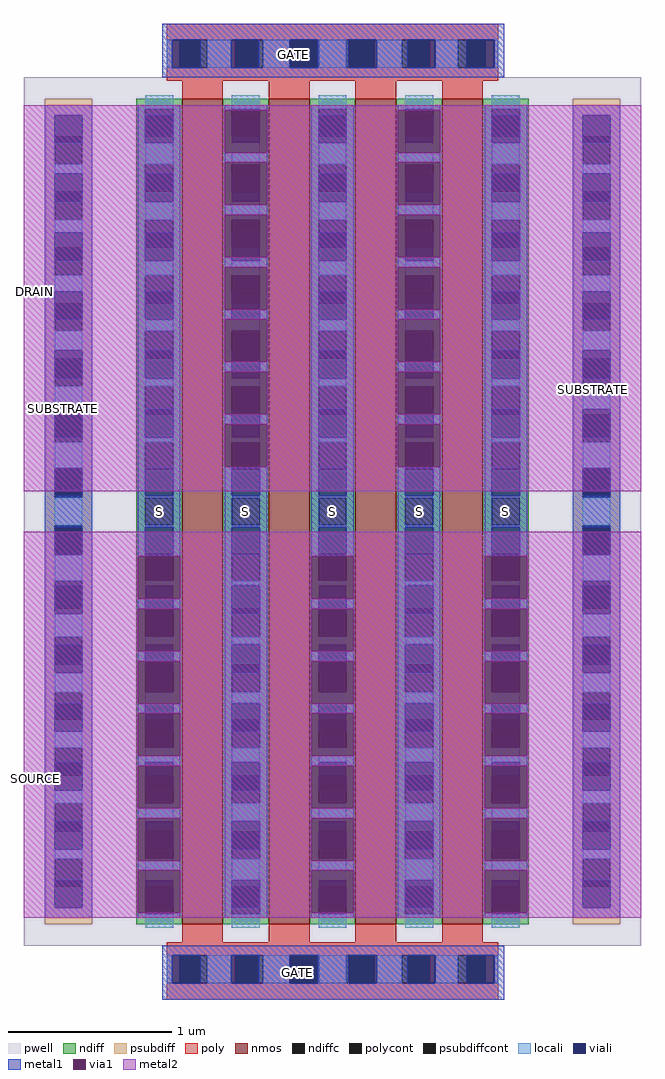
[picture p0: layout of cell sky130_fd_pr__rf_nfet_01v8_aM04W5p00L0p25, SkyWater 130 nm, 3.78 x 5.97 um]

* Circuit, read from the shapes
.subckt sky130_fd_pr__rf_nfet_01v8_aM04W5p00L0p25 DRAIN GATE SOURCE SUBSTRATE
XM1 DRAIN GATE SOURCE SUBSTRATE sky130_fd_pr__nfet_01v8 w=5.05 l=0.25 m=4
.ends

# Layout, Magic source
magic
tech sky130A
magscale 1 2
<< pwell >>
rect 0 66 756 1128
<< nmos >>
rect 194 92 244 1102
rect 300 92 350 1102
rect 406 92 456 1102
rect 512 92 562 1102
<< ndiff >>
rect 138 1090 194 1102
rect 138 1056 149 1090
rect 183 1056 194 1090
rect 138 1022 194 1056
rect 138 988 149 1022
rect 183 988 194 1022
rect 138 954 194 988
rect 138 920 149 954
rect 183 920 194 954
rect 138 886 194 920
rect 138 852 149 886
rect 183 852 194 886
rect 138 818 194 852
rect 138 784 149 818
rect 183 784 194 818
rect 138 750 194 784
rect 138 716 149 750
rect 183 716 194 750
rect 138 682 194 716
rect 138 648 149 682
rect 183 648 194 682
rect 138 614 194 648
rect 138 580 149 614
rect 183 580 194 614
rect 138 546 194 580
rect 138 512 149 546
rect 183 512 194 546
rect 138 478 194 512
rect 138 444 149 478
rect 183 444 194 478
rect 138 410 194 444
rect 138 376 149 410
rect 183 376 194 410
rect 138 342 194 376
rect 138 308 149 342
rect 183 308 194 342
rect 138 274 194 308
rect 138 240 149 274
rect 183 240 194 274
rect 138 206 194 240
rect 138 172 149 206
rect 183 172 194 206
rect 138 138 194 172
rect 138 104 149 138
rect 183 104 194 138
rect 138 92 194 104
rect 244 1090 300 1102
rect 244 1056 255 1090
rect 289 1056 300 1090
rect 244 1022 300 1056
rect 244 988 255 1022
rect 289 988 300 1022
rect 244 954 300 988
rect 244 920 255 954
rect 289 920 300 954
rect 244 886 300 920
rect 244 852 255 886
rect 289 852 300 886
rect 244 818 300 852
rect 244 784 255 818
rect 289 784 300 818
rect 244 750 300 784
rect 244 716 255 750
rect 289 716 300 750
rect 244 682 300 716
rect 244 648 255 682
rect 289 648 300 682
rect 244 614 300 648
rect 244 580 255 614
rect 289 580 300 614
rect 244 546 300 580
rect 244 512 255 546
rect 289 512 300 546
rect 244 478 300 512
rect 244 444 255 478
rect 289 444 300 478
rect 244 410 300 444
rect 244 376 255 410
rect 289 376 300 410
rect 244 342 300 376
rect 244 308 255 342
rect 289 308 300 342
rect 244 274 300 308
rect 244 240 255 274
rect 289 240 300 274
rect 244 206 300 240
rect 244 172 255 206
rect 289 172 300 206
rect 244 138 300 172
rect 244 104 255 138
rect 289 104 300 138
rect 244 92 300 104
rect 350 1090 406 1102
rect 350 1056 361 1090
rect 395 1056 406 1090
rect 350 1022 406 1056
rect 350 988 361 1022
rect 395 988 406 1022
rect 350 954 406 988
rect 350 920 361 954
rect 395 920 406 954
rect 350 886 406 920
rect 350 852 361 886
rect 395 852 406 886
rect 350 818 406 852
rect 350 784 361 818
rect 395 784 406 818
rect 350 750 406 784
rect 350 716 361 750
rect 395 716 406 750
rect 350 682 406 716
rect 350 648 361 682
rect 395 648 406 682
rect 350 614 406 648
rect 350 580 361 614
rect 395 580 406 614
rect 350 546 406 580
rect 350 512 361 546
rect 395 512 406 546
rect 350 478 406 512
rect 350 444 361 478
rect 395 444 406 478
rect 350 410 406 444
rect 350 376 361 410
rect 395 376 406 410
rect 350 342 406 376
rect 350 308 361 342
rect 395 308 406 342
rect 350 274 406 308
rect 350 240 361 274
rect 395 240 406 274
rect 350 206 406 240
rect 350 172 361 206
rect 395 172 406 206
rect 350 138 406 172
rect 350 104 361 138
rect 395 104 406 138
rect 350 92 406 104
rect 456 1090 512 1102
rect 456 1056 467 1090
rect 501 1056 512 1090
rect 456 1022 512 1056
rect 456 988 467 1022
rect 501 988 512 1022
rect 456 954 512 988
rect 456 920 467 954
rect 501 920 512 954
rect 456 886 512 920
rect 456 852 467 886
rect 501 852 512 886
rect 456 818 512 852
rect 456 784 467 818
rect 501 784 512 818
rect 456 750 512 784
rect 456 716 467 750
rect 501 716 512 750
rect 456 682 512 716
rect 456 648 467 682
rect 501 648 512 682
rect 456 614 512 648
rect 456 580 467 614
rect 501 580 512 614
rect 456 546 512 580
rect 456 512 467 546
rect 501 512 512 546
rect 456 478 512 512
rect 456 444 467 478
rect 501 444 512 478
rect 456 410 512 444
rect 456 376 467 410
rect 501 376 512 410
rect 456 342 512 376
rect 456 308 467 342
rect 501 308 512 342
rect 456 274 512 308
rect 456 240 467 274
rect 501 240 512 274
rect 456 206 512 240
rect 456 172 467 206
rect 501 172 512 206
rect 456 138 512 172
rect 456 104 467 138
rect 501 104 512 138
rect 456 92 512 104
rect 562 1090 618 1102
rect 562 1056 573 1090
rect 607 1056 618 1090
rect 562 1022 618 1056
rect 562 988 573 1022
rect 607 988 618 1022
rect 562 954 618 988
rect 562 920 573 954
rect 607 920 618 954
rect 562 886 618 920
rect 562 852 573 886
rect 607 852 618 886
rect 562 818 618 852
rect 562 784 573 818
rect 607 784 618 818
rect 562 750 618 784
rect 562 716 573 750
rect 607 716 618 750
rect 562 682 618 716
rect 562 648 573 682
rect 607 648 618 682
rect 562 614 618 648
rect 562 580 573 614
rect 607 580 618 614
rect 562 546 618 580
rect 562 512 573 546
rect 607 512 618 546
rect 562 478 618 512
rect 562 444 573 478
rect 607 444 618 478
rect 562 410 618 444
rect 562 376 573 410
rect 607 376 618 410
rect 562 342 618 376
rect 562 308 573 342
rect 607 308 618 342
rect 562 274 618 308
rect 562 240 573 274
rect 607 240 618 274
rect 562 206 618 240
rect 562 172 573 206
rect 607 172 618 206
rect 562 138 618 172
rect 562 104 573 138
rect 607 104 618 138
rect 562 92 618 104
<< ndiffc >>
rect 149 1056 183 1090
rect 149 988 183 1022
rect 149 920 183 954
rect 149 852 183 886
rect 149 784 183 818
rect 149 716 183 750
rect 149 648 183 682
rect 149 580 183 614
rect 149 512 183 546
rect 149 444 183 478
rect 149 376 183 410
rect 149 308 183 342
rect 149 240 183 274
rect 149 172 183 206
rect 149 104 183 138
rect 255 1056 289 1090
rect 255 988 289 1022
rect 255 920 289 954
rect 255 852 289 886
rect 255 784 289 818
rect 255 716 289 750
rect 255 648 289 682
rect 255 580 289 614
rect 255 512 289 546
rect 255 444 289 478
rect 255 376 289 410
rect 255 308 289 342
rect 255 240 289 274
rect 255 172 289 206
rect 255 104 289 138
rect 361 1056 395 1090
rect 361 988 395 1022
rect 361 920 395 954
rect 361 852 395 886
rect 361 784 395 818
rect 361 716 395 750
rect 361 648 395 682
rect 361 580 395 614
rect 361 512 395 546
rect 361 444 395 478
rect 361 376 395 410
rect 361 308 395 342
rect 361 240 395 274
rect 361 172 395 206
rect 361 104 395 138
rect 467 1056 501 1090
rect 467 988 501 1022
rect 467 920 501 954
rect 467 852 501 886
rect 467 784 501 818
rect 467 716 501 750
rect 467 648 501 682
rect 467 580 501 614
rect 467 512 501 546
rect 467 444 501 478
rect 467 376 501 410
rect 467 308 501 342
rect 467 240 501 274
rect 467 172 501 206
rect 467 104 501 138
rect 573 1056 607 1090
rect 573 988 607 1022
rect 573 920 607 954
rect 573 852 607 886
rect 573 784 607 818
rect 573 716 607 750
rect 573 648 607 682
rect 573 580 607 614
rect 573 512 607 546
rect 573 444 607 478
rect 573 376 607 410
rect 573 308 607 342
rect 573 240 607 274
rect 573 172 607 206
rect 573 104 607 138
<< psubdiff >>
rect 26 1056 84 1102
rect 26 1022 38 1056
rect 72 1022 84 1056
rect 26 988 84 1022
rect 26 954 38 988
rect 72 954 84 988
rect 26 920 84 954
rect 26 886 38 920
rect 72 886 84 920
rect 26 852 84 886
rect 26 818 38 852
rect 72 818 84 852
rect 26 784 84 818
rect 26 750 38 784
rect 72 750 84 784
rect 26 716 84 750
rect 26 682 38 716
rect 72 682 84 716
rect 26 648 84 682
rect 26 614 38 648
rect 72 614 84 648
rect 26 580 84 614
rect 26 546 38 580
rect 72 546 84 580
rect 26 512 84 546
rect 26 478 38 512
rect 72 478 84 512
rect 26 444 84 478
rect 26 410 38 444
rect 72 410 84 444
rect 26 376 84 410
rect 26 342 38 376
rect 72 342 84 376
rect 26 308 84 342
rect 26 274 38 308
rect 72 274 84 308
rect 26 240 84 274
rect 26 206 38 240
rect 72 206 84 240
rect 26 172 84 206
rect 26 138 38 172
rect 72 138 84 172
rect 26 92 84 138
rect 672 1056 730 1102
rect 672 1022 684 1056
rect 718 1022 730 1056
rect 672 988 730 1022
rect 672 954 684 988
rect 718 954 730 988
rect 672 920 730 954
rect 672 886 684 920
rect 718 886 730 920
rect 672 852 730 886
rect 672 818 684 852
rect 718 818 730 852
rect 672 784 730 818
rect 672 750 684 784
rect 718 750 730 784
rect 672 716 730 750
rect 672 682 684 716
rect 718 682 730 716
rect 672 648 730 682
rect 672 614 684 648
rect 718 614 730 648
rect 672 580 730 614
rect 672 546 684 580
rect 718 546 730 580
rect 672 512 730 546
rect 672 478 684 512
rect 718 478 730 512
rect 672 444 730 478
rect 672 410 684 444
rect 718 410 730 444
rect 672 376 730 410
rect 672 342 684 376
rect 718 342 730 376
rect 672 308 730 342
rect 672 274 684 308
rect 718 274 730 308
rect 672 240 730 274
rect 672 206 684 240
rect 718 206 730 240
rect 672 172 730 206
rect 672 138 684 172
rect 718 138 730 172
rect 672 92 730 138
<< psubdiffcont >>
rect 38 1022 72 1056
rect 38 954 72 988
rect 38 886 72 920
rect 38 818 72 852
rect 38 750 72 784
rect 38 682 72 716
rect 38 614 72 648
rect 38 546 72 580
rect 38 478 72 512
rect 38 410 72 444
rect 38 342 72 376
rect 38 274 72 308
rect 38 206 72 240
rect 38 138 72 172
rect 684 1022 718 1056
rect 684 954 718 988
rect 684 886 718 920
rect 684 818 718 852
rect 684 750 718 784
rect 684 682 718 716
rect 684 614 718 648
rect 684 546 718 580
rect 684 478 718 512
rect 684 410 718 444
rect 684 342 718 376
rect 684 274 718 308
rect 684 206 718 240
rect 684 138 718 172
<< poly >>
rect 175 1174 581 1194
rect 175 1140 191 1174
rect 225 1140 259 1174
rect 293 1140 327 1174
rect 361 1140 395 1174
rect 429 1140 463 1174
rect 497 1140 531 1174
rect 565 1140 581 1174
rect 175 1124 581 1140
rect 194 1102 244 1124
rect 300 1102 350 1124
rect 406 1102 456 1124
rect 512 1102 562 1124
rect 194 70 244 92
rect 300 70 350 92
rect 406 70 456 92
rect 512 70 562 92
rect 175 54 581 70
rect 175 20 191 54
rect 225 20 259 54
rect 293 20 327 54
rect 361 20 395 54
rect 429 20 463 54
rect 497 20 531 54
rect 565 20 581 54
rect 175 0 581 20
<< polycont >>
rect 191 1140 225 1174
rect 259 1140 293 1174
rect 327 1140 361 1174
rect 395 1140 429 1174
rect 463 1140 497 1174
rect 531 1140 565 1174
rect 191 20 225 54
rect 259 20 293 54
rect 327 20 361 54
rect 395 20 429 54
rect 463 20 497 54
rect 531 20 565 54
<< locali >>
rect 175 1140 182 1174
rect 225 1140 254 1174
rect 293 1140 326 1174
rect 361 1140 395 1174
rect 432 1140 463 1174
rect 504 1140 531 1174
rect 576 1140 581 1174
rect 149 1090 183 1106
rect 38 1010 72 1022
rect 38 938 72 954
rect 38 866 72 886
rect 38 794 72 818
rect 38 722 72 750
rect 38 650 72 682
rect 38 580 72 614
rect 38 512 72 544
rect 38 444 72 472
rect 38 376 72 400
rect 38 308 72 328
rect 38 240 72 256
rect 38 172 72 184
rect 149 1022 183 1048
rect 149 954 183 976
rect 149 886 183 904
rect 149 818 183 832
rect 149 750 183 760
rect 149 682 183 688
rect 149 614 183 616
rect 149 578 183 580
rect 149 506 183 512
rect 149 434 183 444
rect 149 362 183 376
rect 149 290 183 308
rect 149 218 183 240
rect 149 146 183 172
rect 149 88 183 104
rect 255 1090 289 1106
rect 255 1022 289 1048
rect 255 954 289 976
rect 255 886 289 904
rect 255 818 289 832
rect 255 750 289 760
rect 255 682 289 688
rect 255 614 289 616
rect 255 578 289 580
rect 255 506 289 512
rect 255 434 289 444
rect 255 362 289 376
rect 255 290 289 308
rect 255 218 289 240
rect 255 146 289 172
rect 255 88 289 104
rect 361 1090 395 1106
rect 361 1022 395 1048
rect 361 954 395 976
rect 361 886 395 904
rect 361 818 395 832
rect 361 750 395 760
rect 361 682 395 688
rect 361 614 395 616
rect 361 578 395 580
rect 361 506 395 512
rect 361 434 395 444
rect 361 362 395 376
rect 361 290 395 308
rect 361 218 395 240
rect 361 146 395 172
rect 361 88 395 104
rect 467 1090 501 1106
rect 467 1022 501 1048
rect 467 954 501 976
rect 467 886 501 904
rect 467 818 501 832
rect 467 750 501 760
rect 467 682 501 688
rect 467 614 501 616
rect 467 578 501 580
rect 467 506 501 512
rect 467 434 501 444
rect 467 362 501 376
rect 467 290 501 308
rect 467 218 501 240
rect 467 146 501 172
rect 467 88 501 104
rect 573 1090 607 1106
rect 573 1022 607 1048
rect 573 954 607 976
rect 573 886 607 904
rect 573 818 607 832
rect 573 750 607 760
rect 573 682 607 688
rect 573 614 607 616
rect 573 578 607 580
rect 573 506 607 512
rect 573 434 607 444
rect 573 362 607 376
rect 573 290 607 308
rect 573 218 607 240
rect 573 146 607 172
rect 684 1010 718 1022
rect 684 938 718 954
rect 684 866 718 886
rect 684 794 718 818
rect 684 722 718 750
rect 684 650 718 682
rect 684 580 718 614
rect 684 512 718 544
rect 684 444 718 472
rect 684 376 718 400
rect 684 308 718 328
rect 684 240 718 256
rect 684 172 718 184
rect 573 88 607 104
rect 175 20 182 54
rect 225 20 254 54
rect 293 20 326 54
rect 361 20 395 54
rect 432 20 463 54
rect 504 20 531 54
rect 576 20 581 54
<< viali >>
rect 182 1140 191 1174
rect 191 1140 216 1174
rect 254 1140 259 1174
rect 259 1140 288 1174
rect 326 1140 327 1174
rect 327 1140 360 1174
rect 398 1140 429 1174
rect 429 1140 432 1174
rect 470 1140 497 1174
rect 497 1140 504 1174
rect 542 1140 565 1174
rect 565 1140 576 1174
rect 38 1056 72 1082
rect 38 1048 72 1056
rect 38 988 72 1010
rect 38 976 72 988
rect 38 920 72 938
rect 38 904 72 920
rect 38 852 72 866
rect 38 832 72 852
rect 38 784 72 794
rect 38 760 72 784
rect 38 716 72 722
rect 38 688 72 716
rect 38 648 72 650
rect 38 616 72 648
rect 38 546 72 578
rect 38 544 72 546
rect 38 478 72 506
rect 38 472 72 478
rect 38 410 72 434
rect 38 400 72 410
rect 38 342 72 362
rect 38 328 72 342
rect 38 274 72 290
rect 38 256 72 274
rect 38 206 72 218
rect 38 184 72 206
rect 38 138 72 146
rect 38 112 72 138
rect 149 1056 183 1082
rect 149 1048 183 1056
rect 149 988 183 1010
rect 149 976 183 988
rect 149 920 183 938
rect 149 904 183 920
rect 149 852 183 866
rect 149 832 183 852
rect 149 784 183 794
rect 149 760 183 784
rect 149 716 183 722
rect 149 688 183 716
rect 149 648 183 650
rect 149 616 183 648
rect 149 546 183 578
rect 149 544 183 546
rect 149 478 183 506
rect 149 472 183 478
rect 149 410 183 434
rect 149 400 183 410
rect 149 342 183 362
rect 149 328 183 342
rect 149 274 183 290
rect 149 256 183 274
rect 149 206 183 218
rect 149 184 183 206
rect 149 138 183 146
rect 149 112 183 138
rect 255 1056 289 1082
rect 255 1048 289 1056
rect 255 988 289 1010
rect 255 976 289 988
rect 255 920 289 938
rect 255 904 289 920
rect 255 852 289 866
rect 255 832 289 852
rect 255 784 289 794
rect 255 760 289 784
rect 255 716 289 722
rect 255 688 289 716
rect 255 648 289 650
rect 255 616 289 648
rect 255 546 289 578
rect 255 544 289 546
rect 255 478 289 506
rect 255 472 289 478
rect 255 410 289 434
rect 255 400 289 410
rect 255 342 289 362
rect 255 328 289 342
rect 255 274 289 290
rect 255 256 289 274
rect 255 206 289 218
rect 255 184 289 206
rect 255 138 289 146
rect 255 112 289 138
rect 361 1056 395 1082
rect 361 1048 395 1056
rect 361 988 395 1010
rect 361 976 395 988
rect 361 920 395 938
rect 361 904 395 920
rect 361 852 395 866
rect 361 832 395 852
rect 361 784 395 794
rect 361 760 395 784
rect 361 716 395 722
rect 361 688 395 716
rect 361 648 395 650
rect 361 616 395 648
rect 361 546 395 578
rect 361 544 395 546
rect 361 478 395 506
rect 361 472 395 478
rect 361 410 395 434
rect 361 400 395 410
rect 361 342 395 362
rect 361 328 395 342
rect 361 274 395 290
rect 361 256 395 274
rect 361 206 395 218
rect 361 184 395 206
rect 361 138 395 146
rect 361 112 395 138
rect 467 1056 501 1082
rect 467 1048 501 1056
rect 467 988 501 1010
rect 467 976 501 988
rect 467 920 501 938
rect 467 904 501 920
rect 467 852 501 866
rect 467 832 501 852
rect 467 784 501 794
rect 467 760 501 784
rect 467 716 501 722
rect 467 688 501 716
rect 467 648 501 650
rect 467 616 501 648
rect 467 546 501 578
rect 467 544 501 546
rect 467 478 501 506
rect 467 472 501 478
rect 467 410 501 434
rect 467 400 501 410
rect 467 342 501 362
rect 467 328 501 342
rect 467 274 501 290
rect 467 256 501 274
rect 467 206 501 218
rect 467 184 501 206
rect 467 138 501 146
rect 467 112 501 138
rect 573 1056 607 1082
rect 573 1048 607 1056
rect 573 988 607 1010
rect 573 976 607 988
rect 573 920 607 938
rect 573 904 607 920
rect 573 852 607 866
rect 573 832 607 852
rect 573 784 607 794
rect 573 760 607 784
rect 573 716 607 722
rect 573 688 607 716
rect 573 648 607 650
rect 573 616 607 648
rect 573 546 607 578
rect 573 544 607 546
rect 573 478 607 506
rect 573 472 607 478
rect 573 410 607 434
rect 573 400 607 410
rect 573 342 607 362
rect 573 328 607 342
rect 573 274 607 290
rect 573 256 607 274
rect 573 206 607 218
rect 573 184 607 206
rect 573 138 607 146
rect 573 112 607 138
rect 684 1056 718 1082
rect 684 1048 718 1056
rect 684 988 718 1010
rect 684 976 718 988
rect 684 920 718 938
rect 684 904 718 920
rect 684 852 718 866
rect 684 832 718 852
rect 684 784 718 794
rect 684 760 718 784
rect 684 716 718 722
rect 684 688 718 716
rect 684 648 718 650
rect 684 616 718 648
rect 684 546 718 578
rect 684 544 718 546
rect 684 478 718 506
rect 684 472 718 478
rect 684 410 718 434
rect 684 400 718 410
rect 684 342 718 362
rect 684 328 718 342
rect 684 274 718 290
rect 684 256 718 274
rect 684 206 718 218
rect 684 184 718 206
rect 684 138 718 146
rect 684 112 718 138
rect 182 20 191 54
rect 191 20 216 54
rect 254 20 259 54
rect 259 20 288 54
rect 326 20 327 54
rect 327 20 360 54
rect 398 20 429 54
rect 429 20 432 54
rect 470 20 497 54
rect 497 20 504 54
rect 542 20 565 54
rect 565 20 576 54
<< metal1 >>
rect 170 1174 588 1194
rect 170 1140 182 1174
rect 216 1140 254 1174
rect 288 1140 326 1174
rect 360 1140 398 1174
rect 432 1140 470 1174
rect 504 1140 542 1174
rect 576 1140 588 1174
rect 170 1128 588 1140
rect 26 1082 84 1094
rect 26 1048 38 1082
rect 72 1048 84 1082
rect 26 1010 84 1048
rect 26 976 38 1010
rect 72 976 84 1010
rect 26 938 84 976
rect 26 904 38 938
rect 72 904 84 938
rect 26 866 84 904
rect 26 832 38 866
rect 72 832 84 866
rect 26 794 84 832
rect 26 760 38 794
rect 72 760 84 794
rect 26 722 84 760
rect 26 688 38 722
rect 72 688 84 722
rect 26 650 84 688
rect 26 616 38 650
rect 72 616 84 650
rect 26 578 84 616
rect 26 544 38 578
rect 72 544 84 578
rect 26 506 84 544
rect 26 472 38 506
rect 72 472 84 506
rect 26 434 84 472
rect 26 400 38 434
rect 72 400 84 434
rect 26 362 84 400
rect 26 328 38 362
rect 72 328 84 362
rect 26 290 84 328
rect 26 256 38 290
rect 72 256 84 290
rect 26 218 84 256
rect 26 184 38 218
rect 72 184 84 218
rect 26 146 84 184
rect 26 112 38 146
rect 72 112 84 146
rect 26 100 84 112
rect 140 1082 192 1094
rect 140 1048 149 1082
rect 183 1048 192 1082
rect 140 1010 192 1048
rect 140 976 149 1010
rect 183 976 192 1010
rect 140 938 192 976
rect 140 904 149 938
rect 183 904 192 938
rect 140 866 192 904
rect 140 832 149 866
rect 183 832 192 866
rect 140 794 192 832
rect 140 760 149 794
rect 183 760 192 794
rect 140 722 192 760
rect 140 688 149 722
rect 183 688 192 722
rect 140 650 192 688
rect 140 616 149 650
rect 183 616 192 650
rect 140 578 192 616
rect 140 544 149 578
rect 183 544 192 578
rect 140 542 192 544
rect 140 478 149 490
rect 183 478 192 490
rect 140 414 149 426
rect 183 414 192 426
rect 140 350 149 362
rect 183 350 192 362
rect 140 290 192 298
rect 140 286 149 290
rect 183 286 192 290
rect 140 222 192 234
rect 140 158 192 170
rect 140 100 192 106
rect 246 1088 298 1094
rect 246 1024 298 1036
rect 246 960 298 972
rect 246 904 255 908
rect 289 904 298 908
rect 246 896 298 904
rect 246 832 255 844
rect 289 832 298 844
rect 246 768 255 780
rect 289 768 298 780
rect 246 704 255 716
rect 289 704 298 716
rect 246 650 298 652
rect 246 616 255 650
rect 289 616 298 650
rect 246 578 298 616
rect 246 544 255 578
rect 289 544 298 578
rect 246 506 298 544
rect 246 472 255 506
rect 289 472 298 506
rect 246 434 298 472
rect 246 400 255 434
rect 289 400 298 434
rect 246 362 298 400
rect 246 328 255 362
rect 289 328 298 362
rect 246 290 298 328
rect 246 256 255 290
rect 289 256 298 290
rect 246 218 298 256
rect 246 184 255 218
rect 289 184 298 218
rect 246 146 298 184
rect 246 112 255 146
rect 289 112 298 146
rect 246 100 298 112
rect 352 1082 404 1094
rect 352 1048 361 1082
rect 395 1048 404 1082
rect 352 1010 404 1048
rect 352 976 361 1010
rect 395 976 404 1010
rect 352 938 404 976
rect 352 904 361 938
rect 395 904 404 938
rect 352 866 404 904
rect 352 832 361 866
rect 395 832 404 866
rect 352 794 404 832
rect 352 760 361 794
rect 395 760 404 794
rect 352 722 404 760
rect 352 688 361 722
rect 395 688 404 722
rect 352 650 404 688
rect 352 616 361 650
rect 395 616 404 650
rect 352 578 404 616
rect 352 544 361 578
rect 395 544 404 578
rect 352 542 404 544
rect 352 478 361 490
rect 395 478 404 490
rect 352 414 361 426
rect 395 414 404 426
rect 352 350 361 362
rect 395 350 404 362
rect 352 290 404 298
rect 352 286 361 290
rect 395 286 404 290
rect 352 222 404 234
rect 352 158 404 170
rect 352 100 404 106
rect 458 1088 510 1094
rect 458 1024 510 1036
rect 458 960 510 972
rect 458 904 467 908
rect 501 904 510 908
rect 458 896 510 904
rect 458 832 467 844
rect 501 832 510 844
rect 458 768 467 780
rect 501 768 510 780
rect 458 704 467 716
rect 501 704 510 716
rect 458 650 510 652
rect 458 616 467 650
rect 501 616 510 650
rect 458 578 510 616
rect 458 544 467 578
rect 501 544 510 578
rect 458 506 510 544
rect 458 472 467 506
rect 501 472 510 506
rect 458 434 510 472
rect 458 400 467 434
rect 501 400 510 434
rect 458 362 510 400
rect 458 328 467 362
rect 501 328 510 362
rect 458 290 510 328
rect 458 256 467 290
rect 501 256 510 290
rect 458 218 510 256
rect 458 184 467 218
rect 501 184 510 218
rect 458 146 510 184
rect 458 112 467 146
rect 501 112 510 146
rect 458 100 510 112
rect 564 1082 616 1094
rect 564 1048 573 1082
rect 607 1048 616 1082
rect 564 1010 616 1048
rect 564 976 573 1010
rect 607 976 616 1010
rect 564 938 616 976
rect 564 904 573 938
rect 607 904 616 938
rect 564 866 616 904
rect 564 832 573 866
rect 607 832 616 866
rect 564 794 616 832
rect 564 760 573 794
rect 607 760 616 794
rect 564 722 616 760
rect 564 688 573 722
rect 607 688 616 722
rect 564 650 616 688
rect 564 616 573 650
rect 607 616 616 650
rect 564 578 616 616
rect 564 544 573 578
rect 607 544 616 578
rect 564 542 616 544
rect 564 478 573 490
rect 607 478 616 490
rect 564 414 573 426
rect 607 414 616 426
rect 564 350 573 362
rect 607 350 616 362
rect 564 290 616 298
rect 564 286 573 290
rect 607 286 616 290
rect 564 222 616 234
rect 564 158 616 170
rect 564 100 616 106
rect 672 1082 730 1094
rect 672 1048 684 1082
rect 718 1048 730 1082
rect 672 1010 730 1048
rect 672 976 684 1010
rect 718 976 730 1010
rect 672 938 730 976
rect 672 904 684 938
rect 718 904 730 938
rect 672 866 730 904
rect 672 832 684 866
rect 718 832 730 866
rect 672 794 730 832
rect 672 760 684 794
rect 718 760 730 794
rect 672 722 730 760
rect 672 688 684 722
rect 718 688 730 722
rect 672 650 730 688
rect 672 616 684 650
rect 718 616 730 650
rect 672 578 730 616
rect 672 544 684 578
rect 718 544 730 578
rect 672 506 730 544
rect 672 472 684 506
rect 718 472 730 506
rect 672 434 730 472
rect 672 400 684 434
rect 718 400 730 434
rect 672 362 730 400
rect 672 328 684 362
rect 718 328 730 362
rect 672 290 730 328
rect 672 256 684 290
rect 718 256 730 290
rect 672 218 730 256
rect 672 184 684 218
rect 718 184 730 218
rect 672 146 730 184
rect 672 112 684 146
rect 718 112 730 146
rect 672 100 730 112
rect 170 54 588 66
rect 170 20 182 54
rect 216 20 254 54
rect 288 20 326 54
rect 360 20 398 54
rect 432 20 470 54
rect 504 20 542 54
rect 576 20 588 54
rect 170 0 588 20
<< via1 >>
rect 140 506 192 542
rect 140 490 149 506
rect 149 490 183 506
rect 183 490 192 506
rect 140 472 149 478
rect 149 472 183 478
rect 183 472 192 478
rect 140 434 192 472
rect 140 426 149 434
rect 149 426 183 434
rect 183 426 192 434
rect 140 400 149 414
rect 149 400 183 414
rect 183 400 192 414
rect 140 362 192 400
rect 140 328 149 350
rect 149 328 183 350
rect 183 328 192 350
rect 140 298 192 328
rect 140 256 149 286
rect 149 256 183 286
rect 183 256 192 286
rect 140 234 192 256
rect 140 218 192 222
rect 140 184 149 218
rect 149 184 183 218
rect 183 184 192 218
rect 140 170 192 184
rect 140 146 192 158
rect 140 112 149 146
rect 149 112 183 146
rect 183 112 192 146
rect 140 106 192 112
rect 246 1082 298 1088
rect 246 1048 255 1082
rect 255 1048 289 1082
rect 289 1048 298 1082
rect 246 1036 298 1048
rect 246 1010 298 1024
rect 246 976 255 1010
rect 255 976 289 1010
rect 289 976 298 1010
rect 246 972 298 976
rect 246 938 298 960
rect 246 908 255 938
rect 255 908 289 938
rect 289 908 298 938
rect 246 866 298 896
rect 246 844 255 866
rect 255 844 289 866
rect 289 844 298 866
rect 246 794 298 832
rect 246 780 255 794
rect 255 780 289 794
rect 289 780 298 794
rect 246 760 255 768
rect 255 760 289 768
rect 289 760 298 768
rect 246 722 298 760
rect 246 716 255 722
rect 255 716 289 722
rect 289 716 298 722
rect 246 688 255 704
rect 255 688 289 704
rect 289 688 298 704
rect 246 652 298 688
rect 352 506 404 542
rect 352 490 361 506
rect 361 490 395 506
rect 395 490 404 506
rect 352 472 361 478
rect 361 472 395 478
rect 395 472 404 478
rect 352 434 404 472
rect 352 426 361 434
rect 361 426 395 434
rect 395 426 404 434
rect 352 400 361 414
rect 361 400 395 414
rect 395 400 404 414
rect 352 362 404 400
rect 352 328 361 350
rect 361 328 395 350
rect 395 328 404 350
rect 352 298 404 328
rect 352 256 361 286
rect 361 256 395 286
rect 395 256 404 286
rect 352 234 404 256
rect 352 218 404 222
rect 352 184 361 218
rect 361 184 395 218
rect 395 184 404 218
rect 352 170 404 184
rect 352 146 404 158
rect 352 112 361 146
rect 361 112 395 146
rect 395 112 404 146
rect 352 106 404 112
rect 458 1082 510 1088
rect 458 1048 467 1082
rect 467 1048 501 1082
rect 501 1048 510 1082
rect 458 1036 510 1048
rect 458 1010 510 1024
rect 458 976 467 1010
rect 467 976 501 1010
rect 501 976 510 1010
rect 458 972 510 976
rect 458 938 510 960
rect 458 908 467 938
rect 467 908 501 938
rect 501 908 510 938
rect 458 866 510 896
rect 458 844 467 866
rect 467 844 501 866
rect 501 844 510 866
rect 458 794 510 832
rect 458 780 467 794
rect 467 780 501 794
rect 501 780 510 794
rect 458 760 467 768
rect 467 760 501 768
rect 501 760 510 768
rect 458 722 510 760
rect 458 716 467 722
rect 467 716 501 722
rect 501 716 510 722
rect 458 688 467 704
rect 467 688 501 704
rect 501 688 510 704
rect 458 652 510 688
rect 564 506 616 542
rect 564 490 573 506
rect 573 490 607 506
rect 607 490 616 506
rect 564 472 573 478
rect 573 472 607 478
rect 607 472 616 478
rect 564 434 616 472
rect 564 426 573 434
rect 573 426 607 434
rect 607 426 616 434
rect 564 400 573 414
rect 573 400 607 414
rect 607 400 616 414
rect 564 362 616 400
rect 564 328 573 350
rect 573 328 607 350
rect 607 328 616 350
rect 564 298 616 328
rect 564 256 573 286
rect 573 256 607 286
rect 607 256 616 286
rect 564 234 616 256
rect 564 218 616 222
rect 564 184 573 218
rect 573 184 607 218
rect 607 184 616 218
rect 564 170 616 184
rect 564 146 616 158
rect 564 112 573 146
rect 573 112 607 146
rect 607 112 616 146
rect 564 106 616 112
<< metal2 >>
rect 0 1088 756 1094
rect 0 1036 246 1088
rect 298 1036 458 1088
rect 510 1036 756 1088
rect 0 1024 756 1036
rect 0 972 246 1024
rect 298 972 458 1024
rect 510 972 756 1024
rect 0 960 756 972
rect 0 908 246 960
rect 298 908 458 960
rect 510 908 756 960
rect 0 896 756 908
rect 0 844 246 896
rect 298 844 458 896
rect 510 844 756 896
rect 0 832 756 844
rect 0 780 246 832
rect 298 780 458 832
rect 510 780 756 832
rect 0 768 756 780
rect 0 716 246 768
rect 298 716 458 768
rect 510 716 756 768
rect 0 704 756 716
rect 0 652 246 704
rect 298 652 458 704
rect 510 652 756 704
rect 0 622 756 652
rect 0 542 756 572
rect 0 490 140 542
rect 192 490 352 542
rect 404 490 564 542
rect 616 490 756 542
rect 0 478 756 490
rect 0 426 140 478
rect 192 426 352 478
rect 404 426 564 478
rect 616 426 756 478
rect 0 414 756 426
rect 0 362 140 414
rect 192 362 352 414
rect 404 362 564 414
rect 616 362 756 414
rect 0 350 756 362
rect 0 298 140 350
rect 192 298 352 350
rect 404 298 564 350
rect 616 298 756 350
rect 0 286 756 298
rect 0 234 140 286
rect 192 234 352 286
rect 404 234 564 286
rect 616 234 756 286
rect 0 222 756 234
rect 0 170 140 222
rect 192 170 352 222
rect 404 170 564 222
rect 616 170 756 222
rect 0 158 756 170
rect 0 106 140 158
rect 192 106 352 158
rect 404 106 564 158
rect 616 106 756 158
rect 0 100 756 106
<< labels >>
flabel comment s 166 597 166 597 0 FreeSans 300 0 0 0 S
flabel comment s 166 597 166 597 0 FreeSans 300 0 0 0 S
flabel comment s 272 597 272 597 0 FreeSans 300 0 0 0 S
flabel comment s 272 597 272 597 0 FreeSans 300 0 0 0 D
flabel comment s 378 597 378 597 0 FreeSans 300 0 0 0 S
flabel comment s 378 597 378 597 0 FreeSans 300 0 0 0 S
flabel comment s 484 597 484 597 0 FreeSans 300 0 0 0 S
flabel comment s 484 597 484 597 0 FreeSans 300 0 0 0 D
flabel comment s 590 597 590 597 0 FreeSans 300 0 0 0 S
flabel metal2 s 4 831 23 901 0 FreeSans 400 90 0 0 DRAIN
port 1 nsew
flabel metal2 s 4 238 25 302 0 FreeSans 400 90 0 0 SOURCE
port 3 nsew
flabel metal1 s 49 723 49 723 7 FreeSans 400 90 0 0 SUBSTRATE
port 4 nsew
flabel metal1 s 289 1143 371 1168 0 FreeSans 400 0 0 0 GATE
port 2 nsew
flabel metal1 s 294 21 376 46 0 FreeSans 400 0 0 0 GATE
port 2 nsew
flabel metal1 s 697 746 697 746 7 FreeSans 400 90 0 0 SUBSTRATE
port 4 nsew
<< properties >>
string GDS_FILE $PDKPATH/libs.ref/sky130_fd_pr/gds/sky130_fd_pr.gds
string GDS_END 5432414
string GDS_START 5410132
<< end >>
